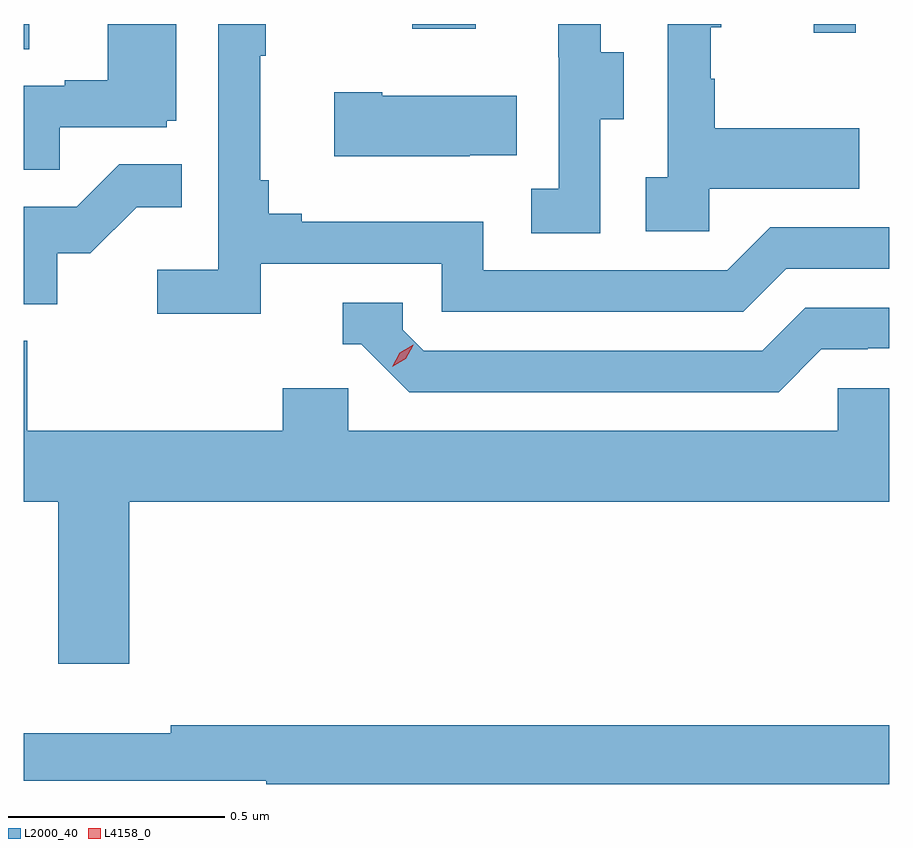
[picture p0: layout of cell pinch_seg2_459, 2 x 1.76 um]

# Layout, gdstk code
import gdstk
lib = gdstk.Library(unit=1e-6, precision=1e-09)
def R(c, l, rs):  # rectangles x0, y0, x1, y1
    for r in rs: c.add(gdstk.rectangle(r[:2], r[2:], *l))
def P(c, l, *ps):  # polygons
    for p in ps: c.add(gdstk.Polygon(p, *l))
L2000_40 = (2000, 40)
L4158_0 = (4158, 0)

pinch_seg2_459 = lib.new_cell('pinch_seg2_459')
R(pinch_seg2_459, L2000_40, [(920.172,608.722,920.185,608.78), (921.998,608.76,922.095,608.78), (921.07,608.769,921.217,608.78)])
P(pinch_seg2_459, L2000_40, [(921.504,608.56),(921.559,608.56),(921.559,608.715),(921.505,608.715),(921.505,608.78),(921.407,608.78),(921.407,608.703),(921.408,608.703),(921.408,608.399),(921.345,608.399),(921.345,608.296),(921.504,608.296)],
  [(920.255,608.541),(920.502,608.541),(920.502,608.556),(920.524,608.556),(920.524,608.78),(920.366,608.78),(920.366,608.65),(920.267,608.65),(920.267,608.637),(920.172,608.637),(920.172,608.443),(920.255,608.443)],
  [(920.72,608.226),(921.138,608.226),(921.138,608.115),(921.835,608.115),(921.934,608.214),(922.172,608.214),(922.172,608.31),(921.897,608.31),(921.798,608.211),(921.234,608.211),(921.234,608.323),(920.815,608.323),(920.815,608.342),(920.738,608.342),(920.738,608.419),(920.719,608.419),(920.719,608.707),(920.731,608.707),(920.731,608.78),(920.622,608.78),(920.622,608.212),(920.481,608.212),(920.481,608.11),(920.72,608.11)],
  [(921.756,608.399),(922.103,608.399),(922.103,608.539),(921.769,608.539),(921.769,608.654),(921.759,608.654),(921.759,608.772),(921.784,608.772),(921.784,608.78),(921.66,608.78),(921.66,608.426),(921.609,608.426),(921.609,608.301),(921.756,608.301)],
  [(921.203,608.477),(921.311,608.477),(921.311,608.614),(921.001,608.614),(921.001,608.622),(920.889,608.622),(920.889,608.474),(921.203,608.474)],
  [(920.25,608.25),(920.326,608.25),(920.433,608.357),(920.537,608.357),(920.537,608.456),(920.393,608.456),(920.295,608.358),(920.172,608.358),(920.172,608.133),(920.25,608.133)],
  [(922.015,608.028),(922.122,608.028),(922.122,608.031),(922.172,608.031),(922.172,608.124),(921.978,608.124),(921.879,608.025),(921.096,608.025),(921.048,608.073),(921.048,608.136),(920.909,608.136),(920.909,608.04),(920.952,608.04),(921.063,607.929),(921.916,607.929)],
  [(920.416,607.676),(922.172,607.676),(922.172,607.938),(922.053,607.938),(922.053,607.84),(920.922,607.84),(920.922,607.938),(920.771,607.938),(920.771,607.84),(920.18,607.84),(920.18,608.048),(920.172,608.048),(920.172,607.676),(920.252,607.676),(920.252,607.302),(920.416,607.302)],
  [(922.172,607.16),(920.512,607.16),(920.512,607.141),(920.172,607.141),(920.172,607.032),(920.732,607.032),(920.732,607.024),(922.172,607.024)])
P(pinch_seg2_459, L4158_0, [(921.024,607.988),(921.024,607.988),(921.041,608.02),(921.072,608.039),(921.072,608.039),(921.072,608.038),(921.055,608.006),(921.024,607.988)])

lib.write_gds('pinch_seg2_459.gds')
